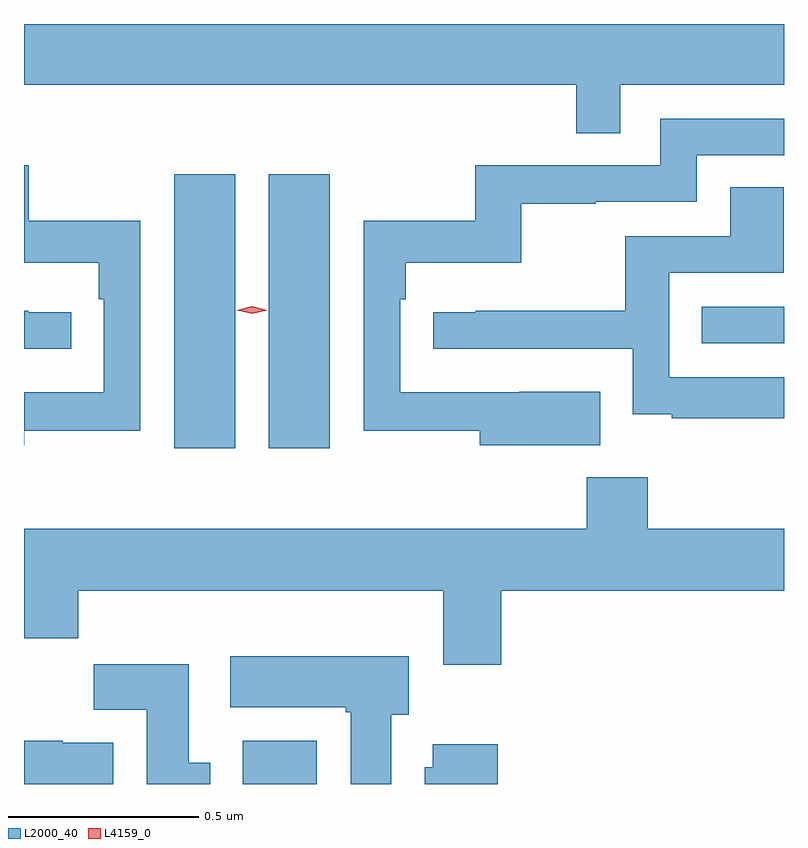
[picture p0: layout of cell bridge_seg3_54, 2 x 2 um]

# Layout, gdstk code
import gdstk
lib = gdstk.Library(unit=1e-6, precision=1e-09)
def R(c, l, rs):  # rectangles x0, y0, x1, y1
    for r in rs: c.add(gdstk.rectangle(r[:2], r[2:], *l))
def P(c, l, *ps):  # polygons
    for p in ps: c.add(gdstk.Polygon(p, *l))
L2000_40 = (2000, 40)
L4159_0 = (4159, 0)

bridge_seg3_54 = lib.new_cell('bridge_seg3_54')
R(bridge_seg3_54, L2000_40, [(1103.015,667.108,1103.211,667.222), (1102.835,667.992,1102.996,668.713), (1103.084,667.992,1103.245,668.713), (1104.223,668.268,1104.44,668.364)])
P(bridge_seg3_54, L2000_40, [(1104.009,668.948),(1104.44,668.948),(1104.44,669.108),(1102.44,669.108),(1102.44,668.948),(1103.893,668.948),(1103.893,668.821),(1104.009,668.821)],
  [(1103.957,668.14),(1103.743,668.14),(1103.743,668.139),(1103.43,668.139),(1103.43,668.384),(1103.444,668.384),(1103.444,668.48),(1103.749,668.48),(1103.749,668.635),(1103.945,668.635),(1103.945,668.64),(1104.21,668.64),(1104.21,668.763),(1104.44,668.763),(1104.44,668.859),(1104.114,668.859),(1104.114,668.736),(1103.628,668.736),(1103.628,668.59),(1103.334,668.59),(1103.334,668.038),(1103.639,668.038),(1103.639,668),(1103.957,668)],
  [(1102.441,668.038),(1102.746,668.038),(1102.746,668.59),(1102.453,668.59),(1102.453,668.736),(1102.44,668.736),(1102.44,668.48),(1102.637,668.48),(1102.637,668.384),(1102.65,668.384),(1102.65,668.139),(1102.44,668.139),(1102.44,668),(1102.441,668)],
  [(1104.44,668.178),(1104.138,668.178),(1104.138,668.454),(1104.439,668.454),(1104.439,668.678),(1104.299,668.678),(1104.299,668.55),(1104.022,668.55),(1104.022,668.354),(1103.629,668.354),(1103.629,668.349),(1103.517,668.349),(1103.517,668.253),(1104.042,668.253),(1104.042,668.081),(1104.145,668.081),(1104.145,668.07),(1104.44,668.07)],
  [(1102.564,668.349),(1102.451,668.349),(1102.451,668.354),(1102.44,668.354),(1102.44,668.253),(1102.564,668.253)],
  [(1103.696,667.616),(1104.44,667.616),(1104.44,667.78),(1104.081,667.78),(1104.081,667.915),(1103.921,667.915),(1103.921,667.78),(1102.44,667.78),(1102.44,667.492),(1102.583,667.492),(1102.583,667.616),(1103.543,667.616),(1103.543,667.422),(1103.696,667.422)],
  [(1103.407,667.29),(1103.452,667.29),(1103.452,667.444),(1102.983,667.444),(1102.983,667.31),(1103.287,667.31),(1103.287,667.297),(1103.3,667.297),(1103.3,667.108),(1103.407,667.108)],
  [(1102.93,667.164),(1102.873,667.164),(1102.873,667.423),(1102.624,667.423),(1102.624,667.304),(1102.763,667.304),(1102.763,667.108),(1102.93,667.108)],
  [(1102.675,667.216),(1102.542,667.216),(1102.542,667.222),(1102.44,667.222),(1102.44,667.108),(1102.675,667.108)],
  [(1103.687,667.213),(1103.516,667.213),(1103.516,667.152),(1103.495,667.152),(1103.495,667.108),(1103.687,667.108)])
P(bridge_seg3_54, L4159_0, [(1103.04,668.345),(1103,668.355),(1103,668.355),(1103,668.355),(1103.04,668.365),(1103.08,668.355),(1103.08,668.355),(1103.08,668.355)])

lib.write_gds('bridge_seg3_54.gds')
